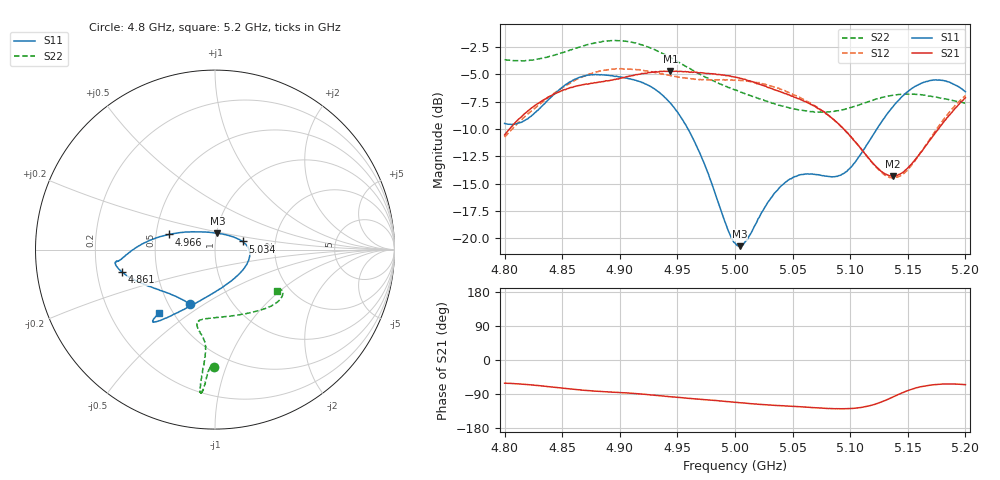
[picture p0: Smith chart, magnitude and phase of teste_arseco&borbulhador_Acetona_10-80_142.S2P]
! Network Analyzer HP8722D
! Hewlett-Packard
! Data name: Linha & Wilkinson
! Saver's name: Rodrigo Anjos
! Comments: Teste da utilização de aquisição
! continua pelo VNA HP8722D
! Time and date: 17/4/2025 15:32
!  Frequency  S11  S21  S12  S22
# HZ  S  MA R 50
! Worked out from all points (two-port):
!   401 points, 4.8 GHz to 5.2 GHz, reference 50 ohm
!   highest |S21| = -4.69 dB at 4.944 GHz (marker M1); lowest = -14.3 dB at 5.137 GHz (marker M2)
!   |S21| within 3 dB of the highest: 4.829 GHz to 5.065 GHz (236.2 MHz wide, 4.77 % of centre); 5.194707 GHz to end of sweep
!   lowest |S11| = -20.7 dB at 5.004 GHz (marker M3), VSWR 1.20, Z = 50.5 + j9.26 ohm
!   |S11| at or under -10 dB: 4.959 GHz to 5.123 GHz (163.9 MHz wide, 3.25 % of centre)
!   |S22| runs from -8.5 to -1.9 dB; largest |S21 - S12| = 0.88
!   S11 on the Smith chart (normalised r, x): 4.8 GHz: 0.64, -0.44; 4.861 GHz: 0.31, -0.11; 4.966 GHz: 0.59, +0.11; 5.034 GHz: 1.36, +0.13; 5.2 GHz: 0.42, -0.38
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4.8e9  0.3352 -114.5  0.2971 -61.2  0.2903 -175.3  0.6565 -90.3
4.819e9  0.35 -134.6  0.3772 -64.7  0.3649 -174.3  0.6516 -91.7
4.861e9  0.5346 -166.5  0.4953 -77.6  0.5286 -177.4  0.7376 -94.2
4.867e9  0.5486 -168.9  0.5031 -79.5  0.5464 -178.5  0.7558 -94.4
4.898e9  0.5496 -173.3  0.5362 -85.6  0.5947 175.2  0.8035 -95.5
4.934e9  0.4663 -179.1  0.5786 -94.2  0.5713 171.5  0.7125 -96.0
4.944e9  0.4147 176.3  0.5825 -96.9  0.5547 171.5  0.6725 -95.8
4.966e9  0.269 161.7  0.5747 -102.7  0.5346 173.4  0.5768 -95.3
5e9  0.09499 95.9  0.5464 -111.7  0.5298 175.7  0.4765 -99.4
5.004e9  0.09188 81.4  0.5406 -112.6  0.5276 175.7  0.4684 -100.2
5.012e9  0.1017 54.6  0.5255 -114.8  0.5228 175.4  0.4521 -102.0
5.034e9  0.16 16.5  0.4783 -119.6  0.4917 174.4  0.4132 -103.3
5.049e9  0.1873 1.8  0.4468 -122.0  0.4589 173.8  0.3937 -99.7
5.067e9  0.1968 -17.6  0.4074 -125.4  0.4118 173.2  0.3798 -90.1
5.086e9  0.1914 -47.8  0.3481 -128.3  0.3481 173.4  0.3808 -75.9
5.097e9  0.2019 -70.1  0.3047 -128.5  0.3064 174.8  0.3916 -66.8
5.123e9  0.3157 -109.5  0.2114 -115.2  0.2099 -169.9  0.4344 -48.7
5.134e9  0.3817 -118.2  0.193 -101.9  0.1897 -155.1  0.4485 -43.1
5.137e9  0.3989 -120.0  0.1923 -97.9  0.189 -150.3  0.4514 -41.8
5.149e9  0.4646 -125.2  0.2073 -81.8  0.2035 -132.0  0.4568 -37.3
5.17e9  0.5277 -130.1  0.2846 -66.0  0.2887 -112.3  0.4469 -32.3
5.2e9  0.4683 -131.5  0.4393 -65.0  0.45 -107.0  0.4155 -33.7
